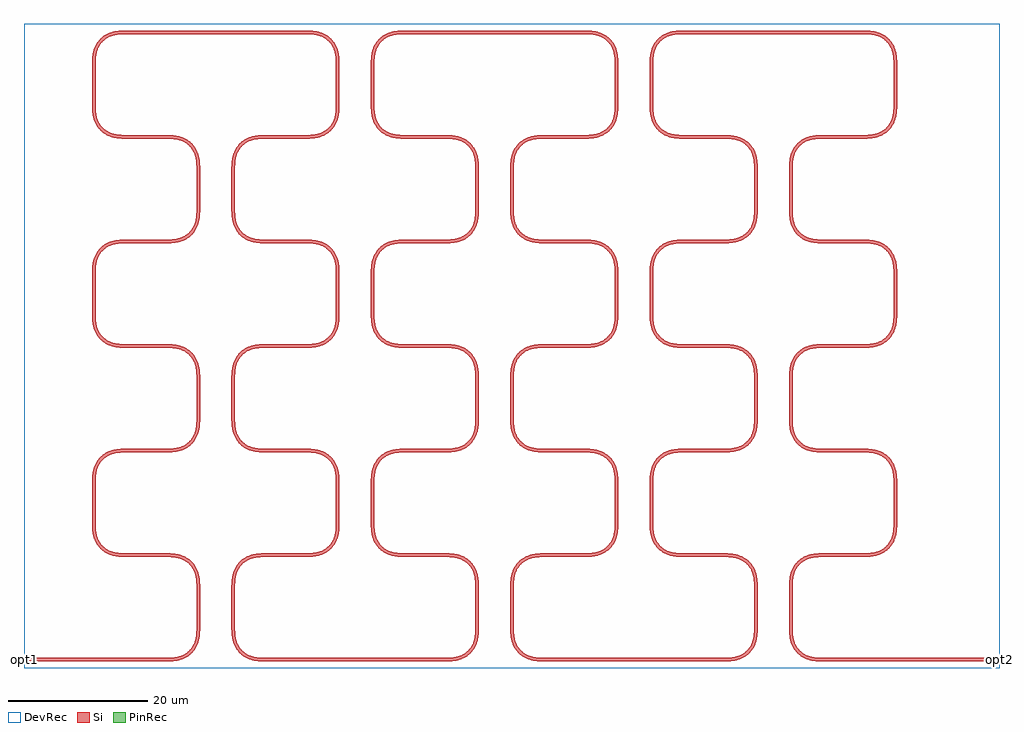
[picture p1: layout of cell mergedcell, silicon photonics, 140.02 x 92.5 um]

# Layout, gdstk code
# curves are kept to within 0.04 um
from math import pi, radians
import gdstk
lib = gdstk.Library(unit=1e-6, precision=1e-09)
def R(c, l, rs):  # rectangles x0, y0, x1, y1
    for r in rs: c.add(gdstk.rectangle(r[:2], r[2:], *l))
def P(c, l, *ps):  # polygons
    for p in ps: c.add(gdstk.Polygon(p, *l))
Si = (1, 0)
PinRec = (1, 10)
DevRec = (68, 0)

bend_euler_gdsfactorypco = lib.new_cell('bend_euler_gdsfactorypcomponentspbendspbend_euler_RNone_3d4f7561')
P(bend_euler_gdsfactorypco, Si, [(0,-0.25),(0,0.25),(1.36,0.294),(2.268,0.462),(3.02,0.78),(3.699,1.301),(4.22,1.98),(4.538,2.732),(4.706,3.64),(4.75,5),(5.25,5),(5.203,3.59),(5.018,2.592),(4.653,1.73),(4.053,0.947),(3.27,0.347),(2.408,-0.018),(1.41,-0.203)])

straight_gdsfactorypcomp = lib.new_cell('straight_gdsfactorypcomponentspwaveguidespstraight_L5_N_c97c2272')
R(straight_gdsfactorypcomp, Si, [(0,-0.25,5,0.25)])

c_straight_gdsfactorypcomp = lib.new_cell('straight_gdsfactorypcomponentspwaveguidespstraight_L20__fccdfb5a')
R(c_straight_gdsfactorypcomp, Si, [(0,-0.25,20,0.25)])

cutback_bend90_gdsfactor = lib.new_cell('cutback_bend90_gdsfactorypcomponentsppcmspcutback_bend__f7762284')
cutback_bend90_gdsfactor.add(gdstk.Reference(bend_euler_gdsfactorypco, (5,40), rotation=pi/2))
cutback_bend90_gdsfactor.add(gdstk.Reference(straight_gdsfactorypcomp, (0,45), rotation=pi))
cutback_bend90_gdsfactor.add(gdstk.Reference(bend_euler_gdsfactorypco, (-10,50), rotation=3*pi/2))
cutback_bend90_gdsfactor.add(gdstk.Reference(bend_euler_gdsfactorypco, (20,45)))
cutback_bend90_gdsfactor.add(gdstk.Reference(straight_gdsfactorypcomp, (20,45), rotation=pi))
cutback_bend90_gdsfactor.add(gdstk.Reference(bend_euler_gdsfactorypco, (15,45), rotation=pi))
cutback_bend90_gdsfactor.add(gdstk.Reference(bend_euler_gdsfactorypco, (45,40), rotation=pi/2))
cutback_bend90_gdsfactor.add(gdstk.Reference(straight_gdsfactorypcomp, (40,45), rotation=pi))
cutback_bend90_gdsfactor.add(gdstk.Reference(bend_euler_gdsfactorypco, (30,50), rotation=3*pi/2))
cutback_bend90_gdsfactor.add(gdstk.Reference(c_straight_gdsfactorypcomp, (40,90)))
cutback_bend90_gdsfactor.add(gdstk.Reference(bend_euler_gdsfactorypco, (60,45)))
cutback_bend90_gdsfactor.add(gdstk.Reference(straight_gdsfactorypcomp, (60,45), rotation=pi))
cutback_bend90_gdsfactor.add(gdstk.Reference(bend_euler_gdsfactorypco, (55,45), rotation=pi))
cutback_bend90_gdsfactor.add(gdstk.Reference(bend_euler_gdsfactorypco, (85,40), rotation=pi/2))
cutback_bend90_gdsfactor.add(gdstk.Reference(straight_gdsfactorypcomp, (80,45), rotation=pi))
cutback_bend90_gdsfactor.add(gdstk.Reference(bend_euler_gdsfactorypco, (70,50), rotation=3*pi/2))
cutback_bend90_gdsfactor.add(gdstk.Reference(bend_euler_gdsfactorypco, (100,45)))
cutback_bend90_gdsfactor.add(gdstk.Reference(straight_gdsfactorypcomp, (100,45), rotation=pi))
cutback_bend90_gdsfactor.add(gdstk.Reference(bend_euler_gdsfactorypco, (95,45), rotation=pi))
cutback_bend90_gdsfactor.add(gdstk.Reference(straight_gdsfactorypcomp, (65,55), rotation=3*pi/2))
cutback_bend90_gdsfactor.add(gdstk.Reference(bend_euler_gdsfactorypco, (65,85), rotation=pi/2))
cutback_bend90_gdsfactor.add(gdstk.Reference(straight_gdsfactorypcomp, (65,85), rotation=3*pi/2))
cutback_bend90_gdsfactor.add(gdstk.Reference(bend_euler_gdsfactorypco, (60,75)))
cutback_bend90_gdsfactor.add(gdstk.Reference(straight_gdsfactorypcomp, (60,75), rotation=pi))
cutback_bend90_gdsfactor.add(gdstk.Reference(bend_euler_gdsfactorypco, (55,75), rotation=pi))
cutback_bend90_gdsfactor.add(gdstk.Reference(straight_gdsfactorypcomp, (50,70), rotation=3*pi/2))
cutback_bend90_gdsfactor.add(gdstk.Reference(straight_gdsfactorypcomp, (70,50), rotation=pi/2))
cutback_bend90_gdsfactor.add(gdstk.Reference(bend_euler_gdsfactorypco, (75,60), rotation=pi))
cutback_bend90_gdsfactor.add(gdstk.Reference(straight_gdsfactorypcomp, (75,60)))
cutback_bend90_gdsfactor.add(gdstk.Reference(bend_euler_gdsfactorypco, (80,60)))
cutback_bend90_gdsfactor.add(gdstk.Reference(straight_gdsfactorypcomp, (85,65), rotation=pi/2))
cutback_bend90_gdsfactor.add(gdstk.Reference(bend_euler_gdsfactorypco, (85,70), rotation=pi/2))
cutback_bend90_gdsfactor.add(gdstk.Reference(straight_gdsfactorypcomp, (80,75), rotation=pi))
cutback_bend90_gdsfactor.add(gdstk.Reference(bend_euler_gdsfactorypco, (70,80), rotation=3*pi/2))
cutback_bend90_gdsfactor.add(gdstk.Reference(straight_gdsfactorypcomp, (70,80), rotation=pi/2))
cutback_bend90_gdsfactor.add(gdstk.Reference(bend_euler_gdsfactorypco, (75,90), rotation=pi))
cutback_bend90_gdsfactor.add(gdstk.Reference(straight_gdsfactorypcomp, (75,90)))
cutback_bend90_gdsfactor.add(gdstk.Reference(c_straight_gdsfactorypcomp, (80,90)))
cutback_bend90_gdsfactor.add(gdstk.Reference(bend_euler_gdsfactorypco, (105,85), rotation=pi/2))
cutback_bend90_gdsfactor.add(gdstk.Reference(straight_gdsfactorypcomp, (105,85), rotation=3*pi/2))
cutback_bend90_gdsfactor.add(gdstk.Reference(bend_euler_gdsfactorypco, (100,75)))
cutback_bend90_gdsfactor.add(gdstk.Reference(straight_gdsfactorypcomp, (100,75), rotation=pi))
cutback_bend90_gdsfactor.add(gdstk.Reference(bend_euler_gdsfactorypco, (95,75), rotation=pi))
cutback_bend90_gdsfactor.add(gdstk.Reference(straight_gdsfactorypcomp, (90,70), rotation=3*pi/2))
cutback_bend90_gdsfactor.add(gdstk.Reference(bend_euler_gdsfactorypco, (90,65), rotation=3*pi/2))
cutback_bend90_gdsfactor.add(gdstk.Reference(straight_gdsfactorypcomp, (95,60)))
cutback_bend90_gdsfactor.add(gdstk.Reference(bend_euler_gdsfactorypco, (105,55), rotation=pi/2))
cutback_bend90_gdsfactor.add(gdstk.Reference(straight_gdsfactorypcomp, (105,55), rotation=3*pi/2))
cutback_bend90_gdsfactor.add(gdstk.Reference(bend_euler_gdsfactorypco, (50,65), rotation=3*pi/2))
cutback_bend90_gdsfactor.add(gdstk.Reference(straight_gdsfactorypcomp, (55,60)))
cutback_bend90_gdsfactor.add(gdstk.Reference(bend_euler_gdsfactorypco, (65,55), rotation=pi/2))
cutback_bend90_gdsfactor.add(gdstk.Reference(straight_gdsfactorypcomp, (20,75), rotation=pi))
cutback_bend90_gdsfactor.add(gdstk.Reference(bend_euler_gdsfactorypco, (15,75), rotation=pi))
cutback_bend90_gdsfactor.add(gdstk.Reference(straight_gdsfactorypcomp, (10,70), rotation=3*pi/2))
cutback_bend90_gdsfactor.add(gdstk.Reference(bend_euler_gdsfactorypco, (10,65), rotation=3*pi/2))
cutback_bend90_gdsfactor.add(gdstk.Reference(straight_gdsfactorypcomp, (15,60)))
cutback_bend90_gdsfactor.add(gdstk.Reference(bend_euler_gdsfactorypco, (25,55), rotation=pi/2))
cutback_bend90_gdsfactor.add(gdstk.Reference(straight_gdsfactorypcomp, (25,55), rotation=3*pi/2))
cutback_bend90_gdsfactor.add(gdstk.Reference(straight_gdsfactorypcomp, (-10,50), rotation=pi/2))
cutback_bend90_gdsfactor.add(gdstk.Reference(bend_euler_gdsfactorypco, (-5,60), rotation=pi))
cutback_bend90_gdsfactor.add(gdstk.Reference(straight_gdsfactorypcomp, (-5,60)))
cutback_bend90_gdsfactor.add(gdstk.Reference(bend_euler_gdsfactorypco, (0,60)))
cutback_bend90_gdsfactor.add(gdstk.Reference(straight_gdsfactorypcomp, (5,65), rotation=pi/2))
cutback_bend90_gdsfactor.add(gdstk.Reference(bend_euler_gdsfactorypco, (5,70), rotation=pi/2))
cutback_bend90_gdsfactor.add(gdstk.Reference(straight_gdsfactorypcomp, (30,50), rotation=pi/2))
cutback_bend90_gdsfactor.add(gdstk.Reference(bend_euler_gdsfactorypco, (35,60), rotation=pi))
cutback_bend90_gdsfactor.add(gdstk.Reference(straight_gdsfactorypcomp, (35,60)))
cutback_bend90_gdsfactor.add(gdstk.Reference(bend_euler_gdsfactorypco, (40,60)))
cutback_bend90_gdsfactor.add(gdstk.Reference(straight_gdsfactorypcomp, (45,65), rotation=pi/2))
cutback_bend90_gdsfactor.add(gdstk.Reference(bend_euler_gdsfactorypco, (45,70), rotation=pi/2))
cutback_bend90_gdsfactor.add(gdstk.Reference(straight_gdsfactorypcomp, (40,75), rotation=pi))
cutback_bend90_gdsfactor.add(gdstk.Reference(bend_euler_gdsfactorypco, (30,80), rotation=3*pi/2))
cutback_bend90_gdsfactor.add(gdstk.Reference(straight_gdsfactorypcomp, (30,80), rotation=pi/2))
cutback_bend90_gdsfactor.add(gdstk.Reference(bend_euler_gdsfactorypco, (35,90), rotation=pi))
cutback_bend90_gdsfactor.add(gdstk.Reference(straight_gdsfactorypcomp, (35,90)))
cutback_bend90_gdsfactor.add(gdstk.Reference(straight_gdsfactorypcomp, (0,75), rotation=pi))
cutback_bend90_gdsfactor.add(gdstk.Reference(bend_euler_gdsfactorypco, (-10,80), rotation=3*pi/2))
cutback_bend90_gdsfactor.add(gdstk.Reference(straight_gdsfactorypcomp, (-10,80), rotation=pi/2))
cutback_bend90_gdsfactor.add(gdstk.Reference(bend_euler_gdsfactorypco, (-5,90), rotation=pi))
cutback_bend90_gdsfactor.add(gdstk.Reference(straight_gdsfactorypcomp, (-5,90)))
cutback_bend90_gdsfactor.add(gdstk.Reference(c_straight_gdsfactorypcomp, (0,90)))
cutback_bend90_gdsfactor.add(gdstk.Reference(bend_euler_gdsfactorypco, (25,85), rotation=pi/2))
cutback_bend90_gdsfactor.add(gdstk.Reference(straight_gdsfactorypcomp, (25,85), rotation=3*pi/2))
cutback_bend90_gdsfactor.add(gdstk.Reference(bend_euler_gdsfactorypco, (20,75)))
cutback_bend90_gdsfactor.add(gdstk.Reference(bend_euler_gdsfactorypco, (45,10), rotation=pi/2))
cutback_bend90_gdsfactor.add(gdstk.Reference(straight_gdsfactorypcomp, (40,15), rotation=pi))
cutback_bend90_gdsfactor.add(gdstk.Reference(bend_euler_gdsfactorypco, (30,20), rotation=3*pi/2))
cutback_bend90_gdsfactor.add(gdstk.Reference(straight_gdsfactorypcomp, (30,20), rotation=pi/2))
cutback_bend90_gdsfactor.add(gdstk.Reference(bend_euler_gdsfactorypco, (35,30), rotation=pi))
cutback_bend90_gdsfactor.add(gdstk.Reference(straight_gdsfactorypcomp, (35,30)))
cutback_bend90_gdsfactor.add(gdstk.Reference(bend_euler_gdsfactorypco, (40,30)))
cutback_bend90_gdsfactor.add(gdstk.Reference(straight_gdsfactorypcomp, (45,35), rotation=pi/2))
cutback_bend90_gdsfactor.add(gdstk.Reference(bend_euler_gdsfactorypco, (0,30)))
cutback_bend90_gdsfactor.add(gdstk.Reference(straight_gdsfactorypcomp, (5,35), rotation=pi/2))
cutback_bend90_gdsfactor.add(gdstk.Reference(bend_euler_gdsfactorypco, (0,0)))
cutback_bend90_gdsfactor.add(gdstk.Reference(straight_gdsfactorypcomp, (5,5), rotation=pi/2))
cutback_bend90_gdsfactor.add(gdstk.Reference(bend_euler_gdsfactorypco, (5,10), rotation=pi/2))
cutback_bend90_gdsfactor.add(gdstk.Reference(straight_gdsfactorypcomp, (0,15), rotation=pi))
cutback_bend90_gdsfactor.add(gdstk.Reference(bend_euler_gdsfactorypco, (-10,20), rotation=3*pi/2))
cutback_bend90_gdsfactor.add(gdstk.Reference(straight_gdsfactorypcomp, (-10,20), rotation=pi/2))
cutback_bend90_gdsfactor.add(gdstk.Reference(bend_euler_gdsfactorypco, (-5,30), rotation=pi))
cutback_bend90_gdsfactor.add(gdstk.Reference(straight_gdsfactorypcomp, (-5,30)))
cutback_bend90_gdsfactor.add(gdstk.Reference(straight_gdsfactorypcomp, (10,40), rotation=3*pi/2))
cutback_bend90_gdsfactor.add(gdstk.Reference(bend_euler_gdsfactorypco, (10,35), rotation=3*pi/2))
cutback_bend90_gdsfactor.add(gdstk.Reference(straight_gdsfactorypcomp, (15,30)))
cutback_bend90_gdsfactor.add(gdstk.Reference(bend_euler_gdsfactorypco, (25,25), rotation=pi/2))
cutback_bend90_gdsfactor.add(gdstk.Reference(straight_gdsfactorypcomp, (25,25), rotation=3*pi/2))
cutback_bend90_gdsfactor.add(gdstk.Reference(bend_euler_gdsfactorypco, (20,15)))
cutback_bend90_gdsfactor.add(gdstk.Reference(straight_gdsfactorypcomp, (20,15), rotation=pi))
cutback_bend90_gdsfactor.add(gdstk.Reference(bend_euler_gdsfactorypco, (15,15), rotation=pi))
cutback_bend90_gdsfactor.add(gdstk.Reference(straight_gdsfactorypcomp, (10,10), rotation=3*pi/2))
cutback_bend90_gdsfactor.add(gdstk.Reference(bend_euler_gdsfactorypco, (10,5), rotation=3*pi/2))
cutback_bend90_gdsfactor.add(gdstk.Reference(straight_gdsfactorypcomp, (15,0)))
cutback_bend90_gdsfactor.add(gdstk.Reference(c_straight_gdsfactorypcomp, (20,0)))
cutback_bend90_gdsfactor.add(gdstk.Reference(bend_euler_gdsfactorypco, (40,0)))
cutback_bend90_gdsfactor.add(gdstk.Reference(straight_gdsfactorypcomp, (45,5), rotation=pi/2))
cutback_bend90_gdsfactor.add(gdstk.Reference(straight_gdsfactorypcomp, (60,15), rotation=pi))
cutback_bend90_gdsfactor.add(gdstk.Reference(bend_euler_gdsfactorypco, (55,15), rotation=pi))
cutback_bend90_gdsfactor.add(gdstk.Reference(straight_gdsfactorypcomp, (50,10), rotation=3*pi/2))
cutback_bend90_gdsfactor.add(gdstk.Reference(bend_euler_gdsfactorypco, (50,5), rotation=3*pi/2))
cutback_bend90_gdsfactor.add(gdstk.Reference(straight_gdsfactorypcomp, (55,0)))
cutback_bend90_gdsfactor.add(gdstk.Reference(c_straight_gdsfactorypcomp, (60,0)))
cutback_bend90_gdsfactor.add(gdstk.Reference(bend_euler_gdsfactorypco, (80,0)))
cutback_bend90_gdsfactor.add(gdstk.Reference(straight_gdsfactorypcomp, (85,5), rotation=pi/2))
cutback_bend90_gdsfactor.add(gdstk.Reference(bend_euler_gdsfactorypco, (85,10), rotation=pi/2))
cutback_bend90_gdsfactor.add(gdstk.Reference(straight_gdsfactorypcomp, (80,15), rotation=pi))
cutback_bend90_gdsfactor.add(gdstk.Reference(bend_euler_gdsfactorypco, (70,20), rotation=3*pi/2))
cutback_bend90_gdsfactor.add(gdstk.Reference(straight_gdsfactorypcomp, (70,20), rotation=pi/2))
cutback_bend90_gdsfactor.add(gdstk.Reference(bend_euler_gdsfactorypco, (75,30), rotation=pi))
cutback_bend90_gdsfactor.add(gdstk.Reference(straight_gdsfactorypcomp, (75,30)))
cutback_bend90_gdsfactor.add(gdstk.Reference(bend_euler_gdsfactorypco, (80,30)))
cutback_bend90_gdsfactor.add(gdstk.Reference(straight_gdsfactorypcomp, (85,35), rotation=pi/2))
cutback_bend90_gdsfactor.add(gdstk.Reference(straight_gdsfactorypcomp, (50,40), rotation=3*pi/2))
cutback_bend90_gdsfactor.add(gdstk.Reference(bend_euler_gdsfactorypco, (50,35), rotation=3*pi/2))
cutback_bend90_gdsfactor.add(gdstk.Reference(straight_gdsfactorypcomp, (55,30)))
cutback_bend90_gdsfactor.add(gdstk.Reference(bend_euler_gdsfactorypco, (65,25), rotation=pi/2))
cutback_bend90_gdsfactor.add(gdstk.Reference(straight_gdsfactorypcomp, (65,25), rotation=3*pi/2))
cutback_bend90_gdsfactor.add(gdstk.Reference(bend_euler_gdsfactorypco, (60,15)))
cutback_bend90_gdsfactor.add(gdstk.Reference(straight_gdsfactorypcomp, (90,40), rotation=3*pi/2))
cutback_bend90_gdsfactor.add(gdstk.Reference(bend_euler_gdsfactorypco, (90,35), rotation=3*pi/2))
cutback_bend90_gdsfactor.add(gdstk.Reference(straight_gdsfactorypcomp, (95,30)))
cutback_bend90_gdsfactor.add(gdstk.Reference(bend_euler_gdsfactorypco, (105,25), rotation=pi/2))
cutback_bend90_gdsfactor.add(gdstk.Reference(straight_gdsfactorypcomp, (105,25), rotation=3*pi/2))
cutback_bend90_gdsfactor.add(gdstk.Reference(bend_euler_gdsfactorypco, (100,15)))
cutback_bend90_gdsfactor.add(gdstk.Reference(straight_gdsfactorypcomp, (100,15), rotation=pi))
cutback_bend90_gdsfactor.add(gdstk.Reference(bend_euler_gdsfactorypco, (95,15), rotation=pi))
cutback_bend90_gdsfactor.add(gdstk.Reference(straight_gdsfactorypcomp, (90,10), rotation=3*pi/2))
cutback_bend90_gdsfactor.add(gdstk.Reference(bend_euler_gdsfactorypco, (90,5), rotation=3*pi/2))
cutback_bend90_gdsfactor.add(gdstk.Reference(straight_gdsfactorypcomp, (95,0)))

bend_test_w0p5_r5_r3_c6_ = lib.new_cell('bend_test_W0p5_R5_R3_C6_OX0_OY0_OX100_OY0')
bend_test_w0p5_r5_r3_c6_.add(gdstk.Reference(cutback_bend90_gdsfactor, (0,0)))

c_straight_gdsfactorypcomp_ = lib.new_cell('straight_gdsfactorypcomponentspwaveguidespstraight_L20__87ee0427')
R(c_straight_gdsfactorypcomp_, Si, [(0,-0.25,20,0.25)])

mergedcell = lib.new_cell('mergedcell')
R(mergedcell, DevRec, [(-20,-1.25,120,91.25)])
mergedcell.add(gdstk.FlexPath([(-19.99,0),(-20.01,0)], 0.5, ends="flush", simple_path=True, layer=1, datatype=10))  # PinRec
mergedcell.add(gdstk.FlexPath([(119.99,0),(120.01,0)], 0.5, ends="flush", simple_path=True, layer=1, datatype=10))  # PinRec
mergedcell.add(gdstk.Reference(bend_test_w0p5_r5_r3_c6_, (0,0)))
mergedcell.add(gdstk.Reference(c_straight_gdsfactorypcomp_, (-20,0)))
mergedcell.add(gdstk.Reference(c_straight_gdsfactorypcomp_, (100,0)))
mergedcell.add(gdstk.Label('opt1', (-20,0), layer=1, texttype=10))
mergedcell.add(gdstk.Label('opt2', (120,0), layer=1, texttype=10))

lib.write_gds('mergedcell.gds')
